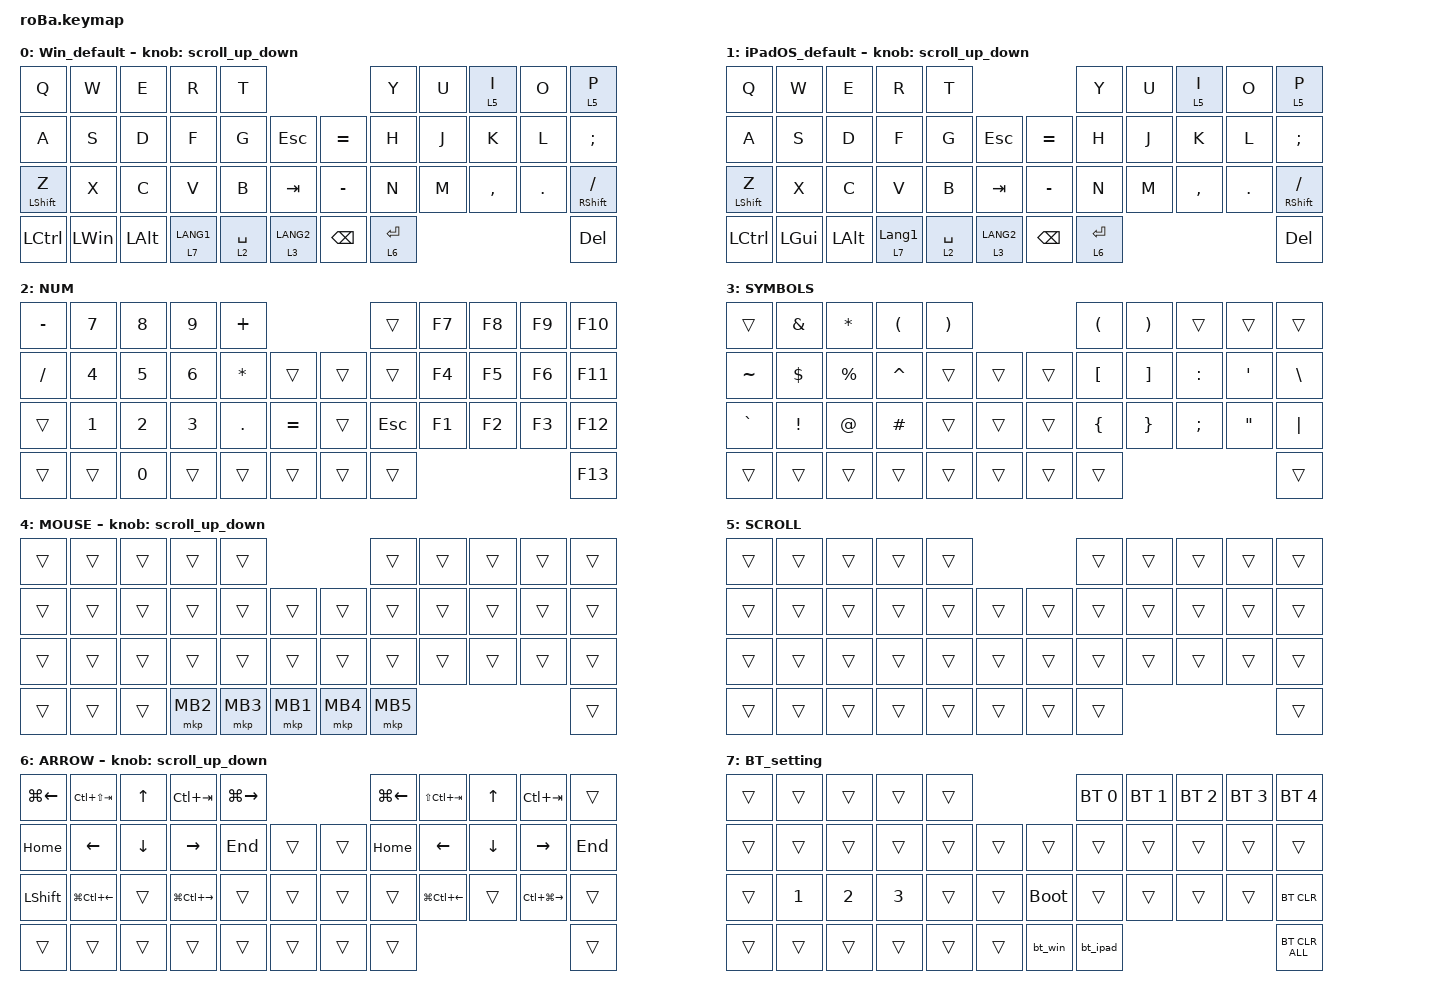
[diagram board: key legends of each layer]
#include <behaviors.dtsi>
#include <dt-bindings/zmk/bt.h>
#include <dt-bindings/zmk/keys.h>
#include <dt-bindings/zmk/pointing.h>

#define ZMK_POINTING_DEFAULT_SCRL_VAL 100

&mt {
    flavor = "balanced";
    quick-tap-ms = <0>;
};

&trackball {
    automouse-layer = <4>;
    scroll-layers = <5>;

    // arrows {
    //     layers = <3>;
    //     bindings =
    //         <&kp RIGHT_ARROW>,
    //         <&kp LEFT_ARROW>,
    //         <&kp UP_ARROW>,
    //         <&kp DOWN_ARROW>;
    //     tick = <10>;
    //     wait-ms = <5>;
    //     tap-ms = <5>;
    // };
};

/ {
    combos {
        compatible = "zmk,combos";

        tab {
            bindings = <&kp TAB>;
            key-positions = <11 12>;
        };

        shift_tab {
            bindings = <&kp LS(TAB)>;
            key-positions = <12 13>;
        };

        muhennkann {
            bindings = <&to_layer_0 INT_MUHENKAN>;
            key-positions = <11 10>;
        };

        double_quotation {
            bindings = <&kp DOUBLE_QUOTES>;
            key-positions = <20 21>;
        };

        eq {
            bindings = <&kp EQUAL>;
            key-positions = <24 25>;
        };
    };

    macros {
        to_layer_0: to_layer_0 {
            compatible = "zmk,behavior-macro-one-param";
            #binding-cells = <1>;
            bindings = <&to 1 &macro_param_1to1 &kp MACRO_PLACEHOLDER>;
            label = "TO_LAYER_0";
        };

        bt_win: bt_win {
            compatible = "zmk,behavior-macro";
            #binding-cells = <0>;
            bindings =
                <&tog_off 0 &tog_off 1>,
                <&macro_wait_time 200>,
                <&bt BT_SEL 0>,
                <&macro_wait_time 500>,
                <&tog_on 0>;

            label = "BT_WIN";
        };

        bt_ipad: bt_ipad {
            compatible = "zmk,behavior-macro";
            #binding-cells = <0>;
            bindings =
                <&tog_off 0 &tog_off 1>,
                <&macro_wait_time 200>,
                <&bt BT_SEL 1>,
                <&macro_wait_time 500>,
                <&tog_on 1>;

            label = "BT_IPAD";
        };
    };

    behaviors {
        scroll_up_down: behavior_sensor_rotate_mouse_wheel_up_down {
            compatible = "zmk,behavior-sensor-rotate";
            #sensor-binding-cells = <0>;
            bindings = <&msc SCRL_DOWN>, <&msc SCRL_UP>;

            // 追加: スクロールのタップ時間を設定 (20ms)

            tap-ms = <20>;
        };

        tog_on: toggle_layer_on_only {
            compatible = "zmk,behavior-toggle-layer";
            #binding-cells = <1>;
            display-name = "Toggle Layer On";
            toggle-mode = "on";
        };

        tog_off: toggle_layer_off_only {
            compatible = "zmk,behavior-toggle-layer";
            #binding-cells = <1>;
            display-name = "Toggle Layer Off";
            toggle-mode = "off";
        };

        lt_to_layer_0: lt_to_layer_0 {
            compatible = "zmk,behavior-hold-tap";
            label = "LAYER_TAP_TO_0";
            bindings = <&mo>, <&to_layer_0>;

            #binding-cells = <2>;
            tapping-term-ms = <200>;
        };
    };

    keymap {
        compatible = "zmk,keymap";

        Win_default {
            bindings = <
&kp Q             &kp W         &kp E         &kp R        &kp T                                        &kp Y        &kp U  &lt 5 I    &kp O    &lt 5 P
&kp A             &kp S         &kp D         &kp F        &kp G        &kp ESC          &kp EQUAL      &kp H        &kp J  &kp K      &kp L    &kp SEMICOLON
&mt LEFT_SHIFT Z  &kp X         &kp C         &kp V        &kp B        &kp TAB          &kp MINUS      &kp N        &kp M  &kp COMMA  &kp DOT  &mt RIGHT_SHIFT SLASH
&kp LCTRL         &kp LEFT_WIN  &kp LEFT_ALT  &lt 7 LANG1  &lt 2 SPACE  &lt 3 LANG2      &kp BACKSPACE  &lt 6 ENTER                             &kp DEL
            >;

            sensor-bindings = <&scroll_up_down>;
        };

        iPadOS_default {
            bindings = <
&kp Q             &kp W         &kp E         &kp R             &kp T                                        &kp Y        &kp U  &lt 5 I    &kp O       &lt 5 P
&kp A             &kp S         &kp D         &kp F             &kp G        &kp ESCAPE       &kp EQUAL      &kp H        &kp J  &kp K      &kp L       &kp SEMICOLON
&mt LEFT_SHIFT Z  &kp X         &kp C         &kp V             &kp B        &kp TAB          &kp MINUS      &kp N        &kp M  &kp COMMA  &kp PERIOD  &mt RIGHT_SHIFT SLASH
&kp LCTRL         &kp LEFT_GUI  &kp LEFT_ALT  &lt 7 LANGUAGE_1  &lt 2 SPACE  &lt 3 LANG2      &kp BACKSPACE  &lt 6 ENTER                                &kp DEL
            >;

            sensor-bindings = <&scroll_up_down>;
        };

        NUM {
            bindings = <
&kp MINUS  &kp N7  &kp N8  &kp N9  &kp PLUS                             &trans   &kp F7  &kp F8  &kp F9  &kp F10
&kp SLASH  &kp N4  &kp N5  &kp N6  &kp ASTERISK  &trans         &trans  &trans   &kp F4  &kp F5  &kp F6  &kp F11
&trans     &kp N1  &kp N2  &kp N3  &kp DOT       &kp EQUAL      &trans  &kp ESC  &kp F1  &kp F2  &kp F3  &kp F12
&trans     &trans  &kp N0  &trans  &trans        &trans         &trans  &trans                           &kp F13
            >;
        };

        SYMBOLS {
            bindings = <
&trans     &kp AMPERSAND    &kp ASTERISK  &kp LEFT_PARENTHESIS  &kp RIGHT_PARENTHESIS                      &kp LEFT_PARENTHESIS  &kp RIGHT_PARENTHESIS  &trans         &trans             &trans
&kp TILDE  &kp DOLLAR       &kp PERCENT   &kp CARET             &trans                 &trans      &trans  &kp LEFT_BRACKET      &kp RIGHT_BRACKET      &kp COLON      &kp SQT            &kp BACKSLASH
&kp GRAVE  &kp EXCLAMATION  &kp AT_SIGN   &kp HASH              &trans                 &trans      &trans  &kp LEFT_BRACE        &kp RIGHT_BRACE        &kp SEMICOLON  &kp DOUBLE_QUOTES  &kp PIPE
&trans     &trans           &trans        &trans                &trans                 &trans      &trans  &trans                                                                         &trans
            >;
        };

        MOUSE {
            bindings = <
&trans  &trans  &trans  &trans    &trans                            &trans    &trans  &trans  &trans  &trans
&trans  &trans  &trans  &trans    &trans    &trans        &trans    &trans    &trans  &trans  &trans  &trans
&trans  &trans  &trans  &trans    &trans    &trans        &trans    &trans    &trans  &trans  &trans  &trans
&trans  &trans  &trans  &mkp MB2  &mkp MB3  &mkp MB1      &mkp MB4  &mkp MB5                          &trans
            >;

            sensor-bindings = <&scroll_up_down>;
        };

        SCROLL {
            bindings = <
&trans  &trans  &trans  &trans  &trans                      &trans  &trans  &trans  &trans  &trans
&trans  &trans  &trans  &trans  &trans  &trans      &trans  &trans  &trans  &trans  &trans  &trans
&trans  &trans  &trans  &trans  &trans  &trans      &trans  &trans  &trans  &trans  &trans  &trans
&trans  &trans  &trans  &trans  &trans  &trans      &trans  &trans                          &trans
            >;
        };

        ARROW {
            bindings = <
&kp LG(LEFT_ARROW)  &kp LC(LS(TAB))         &kp UP_ARROW    &kp LC(TAB)              &kp LG(RIGHT_ARROW)                      &kp LG(LEFT_ARROW)  &kp LS(LC(TAB))         &kp UP_ARROW    &kp LC(TAB)              &trans
&kp HOME            &kp LEFT_ARROW          &kp DOWN_ARROW  &kp RIGHT_ARROW          &kp END              &trans      &trans  &kp HOME            &kp LEFT_ARROW          &kp DOWN_ARROW  &kp RIGHT_ARROW          &kp END
&kp LEFT_SHIFT      &kp LG(LC(LEFT_ARROW))  &trans          &kp LG(LC(RIGHT_ARROW))  &trans               &trans      &trans  &trans              &kp LG(LC(LEFT_ARROW))  &trans          &kp LC(LG(RIGHT_ARROW))  &trans
&trans              &trans                  &trans          &trans                   &trans               &trans      &trans  &trans                                                                               &trans
            >;

            sensor-bindings = <&scroll_up_down>;
        };

        BT_setting {
            bindings = <
&trans  &trans        &trans        &trans        &trans                           &bt BT_SEL 0  &bt BT_SEL 1  &bt BT_SEL 2  &bt BT_SEL 3  &bt BT_SEL 4
&trans  &trans        &trans        &trans        &trans  &trans      &trans       &trans        &trans        &trans        &trans        &trans
&trans  &kp NUMBER_1  &kp NUMBER_2  &kp NUMBER_3  &trans  &trans      &bootloader  &trans        &trans        &trans        &trans        &bt BT_CLR
&trans  &trans        &trans        &trans        &trans  &trans      &bt_win      &bt_ipad                                                &bt BT_CLR_ALL
            >;
        };
    };
};
